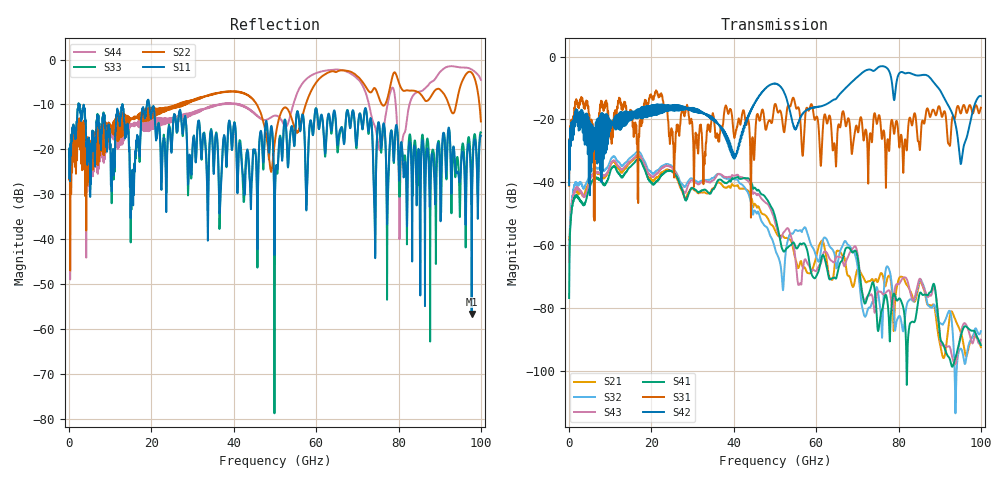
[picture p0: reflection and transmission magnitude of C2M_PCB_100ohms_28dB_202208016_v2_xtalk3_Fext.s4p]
! Info: Touchstone file created by Circ.  Input file=Intel_C2M_200G_12p0in_202208016_staggered.circ
# Hz S RI R 50
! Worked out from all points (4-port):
!   10000 points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, 10 MHz to 100 GHz, reference 50 ohm
!   strongest paths, dB at 10 MHz, 25.01 GHz, 50.01 GHz, 75.01 GHz, 100 GHz:
!     S42: -40.9, -15.8, -8.6, -3.4, -12.6
!     S31: -41.1, -24.5, -15.1, -19.7, -16.2
!     S41: -76.8, -36.5, -50.8, -87.3, -91.8
!     S43: -65.4, -35.3, -52.6, -74.7, -90.0
!     S32: -62.4, -34.8, -61.0, -74.8, -87.3
!     S21: -57.6, -36.5, -55.2, -71.5, -92.4
!   lowest |S11| = -56.6 dB at 97.76 GHz (marker M1), VSWR 1.00, Z = 50.1 - j0.0534 ohm
!   |S11| at or under -10 dB: 2.535 GHz to 12.93 GHz (10.39 GHz wide, 134 % of centre); 12.97 GHz to 18.9 GHz (5.933 GHz wide, 37.2 % of centre); 19.46 GHz to end of sweep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
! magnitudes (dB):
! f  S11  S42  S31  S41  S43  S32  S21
! 10 MHz  -26.4  -40.9  -41.1  -76.8  -65.4  -62.4  -57.6
! 1.44 GHz  -17.6  -19.3  -15.3  -44.3  -42.2  -40.1  -42.5
! 16.85 GHz  -19.4  -17.5  -29.2  -32.5  -31.2  -30.2  -31.6
! 66.17 GHz  -15.1  -11.3  -19.3  -65.1  -64.0  -60.8  -62.9
! 80.36 GHz  -21.9  -5.1  -27.1  -77.0  -71.9  -82.6  -70.1
! 97.76 GHz  -56.6  -18.7  -17.0  -87.2  -90.8  -89.7  -89.5
! 100 GHz  -16.9  -12.6  -16.2  -91.8  -90.0  -87.3  -92.4
